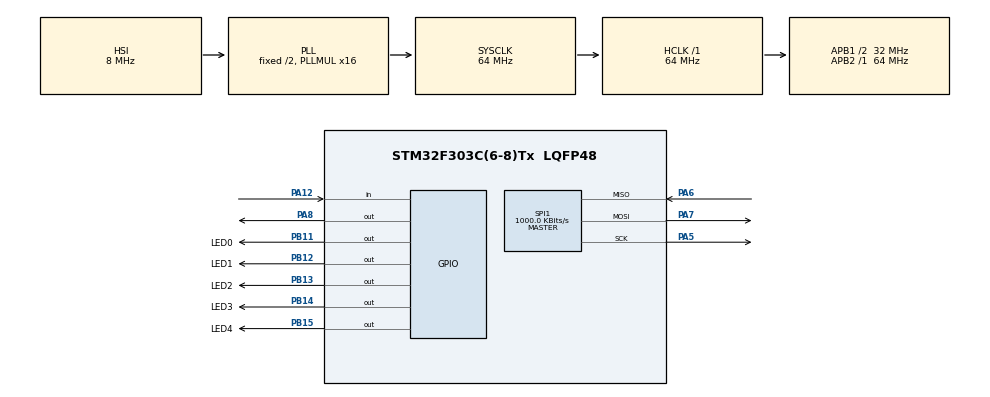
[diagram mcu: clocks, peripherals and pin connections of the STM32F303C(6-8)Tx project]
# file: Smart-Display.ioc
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Mcu.Family=STM32F3
Mcu.Name=STM32F303C(6-8)Tx
Mcu.Package=LQFP48
NVIC.PriorityGroup=NVIC_PRIORITYGROUP_4
PA12.Signal=GPIO_Input
PA13.Mode=Serial_Wire
PA13.Signal=SYS_JTMS-SWDIO
PA14.Mode=Serial_Wire
PA14.Signal=SYS_JTCK-SWCLK
PA5.Mode=Full_Duplex_Master
PA5.Signal=SPI1_SCK
PA6.Mode=Full_Duplex_Master
PA6.Signal=SPI1_MISO
PA7.Mode=Full_Duplex_Master
PA7.Signal=SPI1_MOSI
PA8.Signal=GPIO_Output
PB11.GPIO_Label=LED0
PB11.Signal=GPIO_Output
PB12.GPIO_Label=LED1
PB12.Signal=GPIO_Output
PB13.GPIO_Label=LED2
PB13.Signal=GPIO_Output
PB14.GPIO_Label=LED3
PB14.Signal=GPIO_Output
PB15.GPIO_Label=LED4
PB15.Signal=GPIO_Output
ProjectManager.HeapSize=0x200
ProjectManager.StackSize=0x400
ProjectManager.TargetToolchain=EWARM
RCC.AHBFreq_Value=64000000
RCC.APB1CLKDivider=RCC_HCLK_DIV2
RCC.APB1Freq_Value=32000000
RCC.APB1TimFreq_Value=64000000
RCC.APB2Freq_Value=64000000
RCC.APB2TimFreq_Value=64000000
RCC.CortexFreq_Value=64000000
RCC.HCLKFreq_Value=64000000
RCC.HSE_VALUE=8000000
RCC.HSI_VALUE=8000000
RCC.LSE_VALUE=32768
RCC.PLLMUL=RCC_PLL_MUL16
RCC.SYSCLKFreq_VALUE=64000000
RCC.SYSCLKSourceVirtual=RCC_SYSCLKSOURCE_PLLCLK
SPI1.BaudRatePrescaler=SPI_BAUDRATEPRESCALER_64
SPI1.CLKPhase=SPI_PHASE_2EDGE
SPI1.CLKPolarity=SPI_POLARITY_HIGH
SPI1.CalculateBaudRate=1000.0 KBits/s
SPI1.DataSize=SPI_DATASIZE_8BIT
SPI1.Direction=SPI_DIRECTION_2LINES
SPI1.FirstBit=SPI_FIRSTBIT_LSB
SPI1.Mode=SPI_MODE_MASTER
SPI1.VirtualType=VM_MASTER
board=Smart-Display

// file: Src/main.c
/**
  ******************************************************************************
  * File Name          : main.c
  * Description        : Main program body
  ******************************************************************************
  ** This notice applies to any and all portions of this file
  * that are not between comment pairs USER CODE BEGIN and
  * USER CODE END. Other portions of this file, whether
  * inserted by the user or by software development tools
  * are owned by their respective copyright owners.
  *
  * COPYRIGHT(c) 2018 STMicroelectronics
  *
  * Redistribution and use in source and binary forms, with or without modification,
  * are permitted provided that the following conditions are met:
  *   1. Redistributions of source code must retain the above copyright notice,
  *      this list of conditions and the following disclaimer.
  *   2. Redistributions in binary form must reproduce the above copyright notice,
  *      this list of conditions and the following disclaimer in the documentation
  *      and/or other materials provided with the distribution.
  *   3. Neither the name of STMicroelectronics nor the names of its contributors
  *      may be used to endorse or promote products derived from this software
  *      without specific prior written permission.
  *
  * THIS SOFTWARE IS PROVIDED BY THE COPYRIGHT HOLDERS AND CONTRIBUTORS "AS IS"
  * AND ANY EXPRESS OR IMPLIED WARRANTIES, INCLUDING, BUT NOT LIMITED TO, THE
  * IMPLIED WARRANTIES OF MERCHANTABILITY AND FITNESS FOR A PARTICULAR PURPOSE ARE
  * DISCLAIMED. IN NO EVENT SHALL THE COPYRIGHT HOLDER OR CONTRIBUTORS BE LIABLE
  * FOR ANY DIRECT, INDIRECT, INCIDENTAL, SPECIAL, EXEMPLARY, OR CONSEQUENTIAL
  * DAMAGES (INCLUDING, BUT NOT LIMITED TO, PROCUREMENT OF SUBSTITUTE GOODS OR
  * SERVICES; LOSS OF USE, DATA, OR PROFITS; OR BUSINESS INTERRUPTION) HOWEVER
  * CAUSED AND ON ANY THEORY OF LIABILITY, WHETHER IN CONTRACT, STRICT LIABILITY,
  * OR TORT (INCLUDING NEGLIGENCE OR OTHERWISE) ARISING IN ANY WAY OUT OF THE USE
  * OF THIS SOFTWARE, EVEN IF ADVISED OF THE POSSIBILITY OF SUCH DAMAGE.
  *
  ******************************************************************************
  */

#include "main.h"
#include "stm32f3xx_hal.h"
#include "spi.h"
#include "gpio.h"

/* USER CODE BEGIN PV */
/* Private variables ---------------------------------------------------------*/

/* USER CODE END PV */

void SystemClock_Config(void);

/* USER CODE BEGIN PFP */
/* Private function prototypes -----------------------------------------------*/

/* USER CODE END PFP */

/* USER CODE BEGIN 0 */
/**
* @brief  Put cursor onto the desired row
* @param  uint8_t rowNr
* @note   ..
* @retval None
**/
void selectRow(uint8_t rowNr){
  uint8_t rowAddress = 0x80 + rowNr * 0x20;
  printf("Selecting row with addr %x\n", rowAddress);
  uint8_t displayBuffer[3];
  displayBuffer[0] = 0x1f;
  displayBuffer[1] = rowAddress & 0x0f;
  displayBuffer[2] = (rowAddress >> 4) & 0x0f;
  HAL_SPI_Transmit(&hspi1, displayBuffer, 3, 1000);
}

/**
* @brief  Send command to display controller
* @param  uint8_t commandToBeSent[]
* @note   ..
* @retval None
**/
void sendCommandToSPI(uint8_t commandToBeSent[]){
  for (int i = 0; i < 3; i++) {
    HAL_SPI_Transmit(&hspi1, &commandToBeSent[i], 1, 500);
  }
}

/**
* @brief  Sends an ASCII code to display
* @param  uint8_t asciiData
* @note   ..
* @retval None
**/
void sendDataToDisplay(uint8_t asciiData) {  // Send one character to display
  uint8_t displayBuffer[3];
  displayBuffer[0] = 0x5f;
  displayBuffer[1] = asciiData & 0x0f;
  displayBuffer[2] = (asciiData >> 4) & 0x0f;
  HAL_SPI_Transmit(&hspi1, displayBuffer, 3, 500);
  // sendCommandToSPI(displayBuffer); //doesn't work..
}

/**
* @brief  Sends a string to display
* @param  char charBuffer[]
* @note   ..
* @retval None
**/
void sendCharToDisplay(char charBuffer[]) {  // Send one character to display
  uint8_t displayBuffer[3];
  displayBuffer[0] = 0x5f;
  for (size_t i = 0; i < 10; i++) {
    displayBuffer[1] = charBuffer[i] & 0x0f;
    displayBuffer[2] = charBuffer[i] >> 4 & 0x0f;
    HAL_SPI_Transmit(&hspi1, displayBuffer, 3, 500);
  }
}

/**
* @brief  Init display
* @param  None
* @note   ..
* @retval None
**/
void initDisplay(void){
  //Set CS to 0, Reset spi1_NSS
  HAL_GPIO_WritePin(GPIOA, GPIO_PIN_4, GPIO_PIN_RESET); // PA4: CS
//  HAL_Delay(100);
  HAL_GPIO_WritePin(GPIOA, GPIO_PIN_12, GPIO_PIN_SET);  // PA12: RST
//  HAL_Delay(100);

  //Initialization commands
  uint8_t functionSet[3] = {0x1f, 0x0a, 0x03};
  HAL_Delay(10);
  sendCommandToSPI(functionSet);
  uint8_t extendedFunctionSet[3] = {0x1f, 0x09, 0x0};
  sendCommandToSPI(extendedFunctionSet);
  uint8_t entryModeSet[3] = {0x1f, 0x06, 0x0};
  sendCommandToSPI(entryModeSet);
  uint8_t biasSetting[3] = {0x1f,0x0e,0x01};
  sendCommandToSPI(biasSetting);
  uint8_t functionSet2[3] = {0x1f,0x09,0x03};
  sendCommandToSPI(functionSet2);
  uint8_t internalOSC[3] = {0x1f,0x0b,0x01};
  sendCommandToSPI(internalOSC);
  uint8_t followerControl[3] = {0x1f,0x0e,0x06};
  sendCommandToSPI(followerControl);
  uint8_t powerControl[3] = {0x1f,0x06,0x05};
  sendCommandToSPI(powerControl);
  uint8_t contrastSet[3] = {0x1f,0x0a,0x07};
  sendCommandToSPI(contrastSet);
  uint8_t functionSet3[3] = {0x1f,0x08,0x03};
  sendCommandToSPI(functionSet3);
  uint8_t displayOn[3] = {0x1f,0x0f,0x00};
  sendCommandToSPI(displayOn);
  uint8_t clearDisplay[3] = {0x1f,0x01,0x0};
  sendCommandToSPI(clearDisplay);

}

void displaySend(uint8_t data) {  // Send one character to display
  uint8_t displaySend[3];
  displaySend[0] = 0x5f;
  displaySend[1] = data & 0x0f;
  displaySend[2] = (data >> 4) & 0x0f;
  HAL_SPI_Transmit(&hspi1,displaySend,3,1000);
}

/**
* @brief  Sends config data to display to decide which row to print to
* @param  row: which row to be printed to
* @retval None
*/
void activeRow(uint8_t row) {  // put cursor on desired row
  uint8_t data;
  if (row == 1) { data = 0x80; }
  else if (row == 2) { data = 0xa0; }
  else if (row == 3) { data = 0xc0; }
  else if (row == 4) { data = 0xe0; }
  uint8_t displaySend[3];
  displaySend[0] = 0x1f;
  displaySend[1] = data & 0x0f;
  displaySend[2] = (data >> 4) & 0x0f;
  HAL_SPI_Transmit(&hspi1,displaySend,3,1000);
}

void displayInit(void) {  // Init display
//  HAL_Delay(100);
  // HAL_GPIO_WritePin(GPIOA, GPIO_PIN_4, GPIO_PIN_RESET); // PA4: CS
//  HAL_Delay(100);

 HAL_GPIO_TogglePin(GPIOA, GPIO_PIN_8);  // PA12: RST
 HAL_GPIO_WritePin(GPIOB, GPIO_PIN_15, GPIO_PIN_RESET);
 HAL_Delay(100);

  uint8_t displayInit [12][3] ={
    {0x1f,0x0a,0x03},{0x1f,0x09,0x00},{0x1f,0x06,0x00},
    {0x1f,0x0e,0x01},{0x1f,0x09,0x03},{0x1f,0x0b,0x01},
    {0x1f,0x0e,0x06},{0x1f,0x06,0x05},{0x1f,0x0a,0x07},
    {0x1f,0x08,0x03},{0x1f,0x0f,0x00},{0x1f,0x01,0x00}};
  int i,j;
  for (i=0; i<12; i++) {
    for (j=0; j<3; j++) {
      HAL_SPI_Transmit(&hspi1,&displayInit[i][j],1,100);
       HAL_Delay(100);
    }
  }
  // Print welcome message to screen to appear before first therm/humi printout
  char row1Init[10];
  sprintf(row1Init, "----------");
  activeRow(1); // row1 = time
  for (i=0; i<10; i++) {
    displaySend(row1Init[i]);
     HAL_Delay(100);
  }
  char row2Init[10];
  sprintf(row2Init, "----------");
  activeRow(2); // row1 = time
  for (i=0; i<10; i++) {
    displaySend(row2Init[i]);
  }
  char row3Init[10];
  sprintf(row3Init, "----------");
  activeRow(3); // row1 = time
  for (i=0; i<10; i++) {
    displaySend(row3Init[i]);
  }
  char row4Init[10];
  sprintf(row4Init, "----------");
  activeRow(4); // row1 = time
  for (i=0; i<10; i++) {
    displaySend(row4Init[i]);
  }
}

/* USER CODE END 0 */

int main(void)
{

  /* MCU Configuration----------------------------------------------------------*/

  /* Reset of all peripherals, Initializes the Flash interface and the Systick. */
  HAL_Init();

  /* Configure the system clock */
  SystemClock_Config();

  /* Initialize all configured peripherals */
  MX_GPIO_Init();
  MX_SPI1_Init();

  /* USER CODE BEGIN 2 */
displayInit();

    HAL_Delay(50);
  char buffer[10];
        sprintf(buffer, "Temp:C");
        selectRow(1);
        printf("Printing temp to display..\n");
sendCharToDisplay(buffer);
  /* USER CODE END 2 */

  /* Infinite loop */
  while (1)
  {

  /* USER CODE BEGIN 3 */
  displayInit();

    // HAL_GPIO_WritePin(GPIOB, GPIO_PIN_15, GPIO_PIN_SET);
    // HAL_GPIO_WritePin(GPIOB, GPIO_PIN_11, GPIO_PIN_SET);
  }
  /* USER CODE END 3 */

}

/** System Clock Configuration
*/
void SystemClock_Config(void)
{

  RCC_OscInitTypeDef RCC_OscInitStruct;
  RCC_ClkInitTypeDef RCC_ClkInitStruct;

    /**Initializes the CPU, AHB and APB busses clocks
    */
  RCC_OscInitStruct.OscillatorType = RCC_OSCILLATORTYPE_HSI;
  RCC_OscInitStruct.HSIState = RCC_HSI_ON;
  RCC_OscInitStruct.HSICalibrationValue = 16;
  RCC_OscInitStruct.PLL.PLLState = RCC_PLL_ON;
  RCC_OscInitStruct.PLL.PLLSource = RCC_PLLSOURCE_HSI;
  RCC_OscInitStruct.PLL.PLLMUL = RCC_PLL_MUL16;
  if (HAL_RCC_OscConfig(&RCC_OscInitStruct) != HAL_OK)
  {
    _Error_Handler(__FILE__, __LINE__);
  }

    /**Initializes the CPU, AHB and APB busses clocks
    */
  RCC_ClkInitStruct.ClockType = RCC_CLOCKTYPE_HCLK|RCC_CLOCKTYPE_SYSCLK
                              |RCC_CLOCKTYPE_PCLK1|RCC_CLOCKTYPE_PCLK2;
  RCC_ClkInitStruct.SYSCLKSource = RCC_SYSCLKSOURCE_PLLCLK;
  RCC_ClkInitStruct.AHBCLKDivider = RCC_SYSCLK_DIV1;
  RCC_ClkInitStruct.APB1CLKDivider = RCC_HCLK_DIV2;
  RCC_ClkInitStruct.APB2CLKDivider = RCC_HCLK_DIV1;

  if (HAL_RCC_ClockConfig(&RCC_ClkInitStruct, FLASH_LATENCY_2) != HAL_OK)
  {
    _Error_Handler(__FILE__, __LINE__);
  }

    /**Configure the Systick interrupt time
    */
  HAL_SYSTICK_Config(HAL_RCC_GetHCLKFreq()/1000);

    /**Configure the Systick
    */
  HAL_SYSTICK_CLKSourceConfig(SYSTICK_CLKSOURCE_HCLK);

  /* SysTick_IRQn interrupt configuration */
  HAL_NVIC_SetPriority(SysTick_IRQn, 0, 0);
}

void _Error_Handler(char * file, int line)
{
  while(1)
  {
  }
}

/************************ (C) COPYRIGHT STMicroelectronics *****END OF FILE****/
